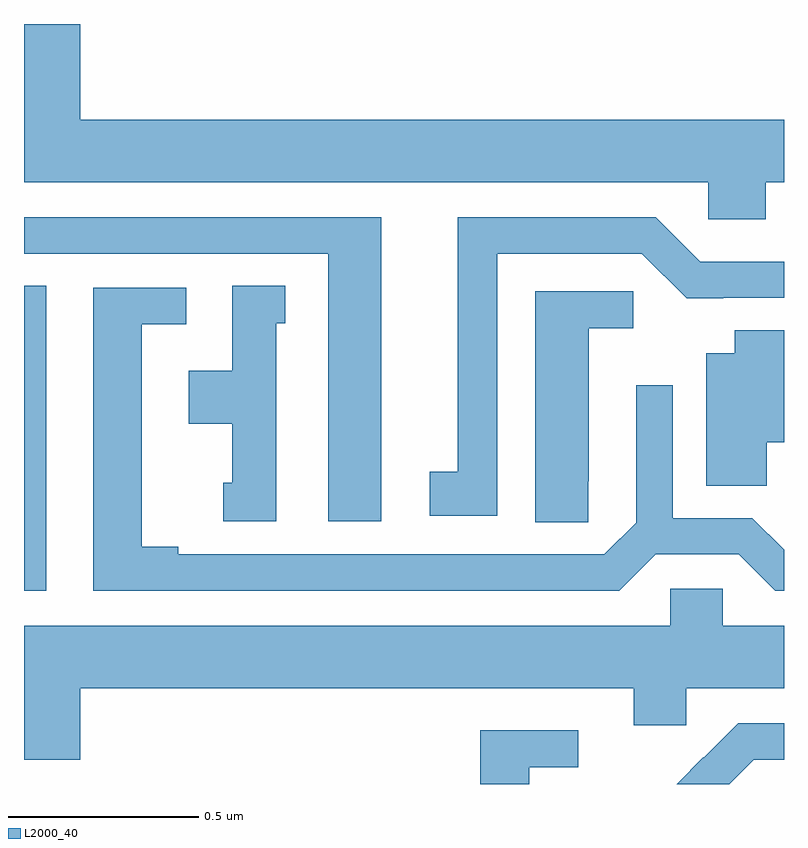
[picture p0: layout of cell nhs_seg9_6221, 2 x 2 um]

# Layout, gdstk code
import gdstk
lib = gdstk.Library(unit=1e-6, precision=1e-09)
def R(c, l, rs):  # rectangles x0, y0, x1, y1
    for r in rs: c.add(gdstk.rectangle(r[:2], r[2:], *l))
def P(c, l, *ps):  # polygons
    for p in ps: c.add(gdstk.Polygon(p, *l))
L2000_40 = (2000, 40)

nhs_seg9_6221 = lib.new_cell('nhs_seg9_6221')
R(nhs_seg9_6221, L2000_40, [(189,1198.008,189.058,1198.811)])
P(nhs_seg9_6221, L2000_40, [(190.952,1199.084),(191,1199.084),(191,1199.248),(189.148,1199.248),(189.148,1199.5),(189,1199.5),(189,1199.084),(190.8,1199.084),(190.8,1198.986),(190.952,1198.986)],
  [(189.94,1198.992),(189,1198.992),(189,1198.896),(189.8,1198.896),(189.8,1198.191),(189.94,1198.191)],
  [(190.246,1198.896),(190.626,1198.896),(190.744,1198.778),(190.84,1198.778),(190.84,1198.779),(191,1198.779),(191,1198.875),(190.779,1198.875),(190.662,1198.992),(190.142,1198.992),(190.142,1198.322),(190.068,1198.322),(190.068,1198.206),(190.246,1198.206)],
  [(189.664,1198.713),(189.688,1198.713),(189.688,1198.811),(189.548,1198.811),(189.548,1198.588),(189.434,1198.588),(189.434,1198.448),(189.548,1198.448),(189.548,1198.293),(189.524,1198.293),(189.524,1198.191),(189.664,1198.191)],
  [(190.663,1198.104),(190.881,1198.104),(190.977,1198.008),(191,1198.008),(191,1198.117),(190.917,1198.2),(190.707,1198.2),(190.707,1198.549),(190.611,1198.549),(190.611,1198.188),(190.527,1198.104),(189.406,1198.104),(189.406,1198.124),(189.31,1198.124),(189.31,1198.71),(189.427,1198.71),(189.427,1198.806),(189.182,1198.806),(189.182,1198.008),(190.567,1198.008)],
  [(190.485,1198.297),(190.486,1198.297),(190.486,1198.7),(190.603,1198.7),(190.603,1198.797),(190.346,1198.797),(190.346,1198.189),(190.485,1198.189)],
  [(190.954,1198.4),(191,1198.4),(191,1198.694),(190.871,1198.694),(190.871,1198.633),(190.796,1198.633),(190.796,1198.285),(190.954,1198.285)],
  [(189.148,1197.752),(190.604,1197.752),(190.604,1197.654),(190.743,1197.654),(190.743,1197.752),(191,1197.752),(191,1197.916),(190.839,1197.916),(190.839,1198.014),(190.701,1198.014),(190.701,1197.916),(189,1197.916),(189,1197.564),(189.148,1197.564)],
  [(190.92,1197.564),(191,1197.564),(191,1197.66),(190.88,1197.66),(190.789,1197.569),(190.788,1197.57),(190.718,1197.5),(190.856,1197.5)],
  [(190.33,1197.544),(190.459,1197.544),(190.459,1197.642),(190.201,1197.642),(190.201,1197.5),(190.33,1197.5)])

lib.write_gds('nhs_seg9_6221.gds')
